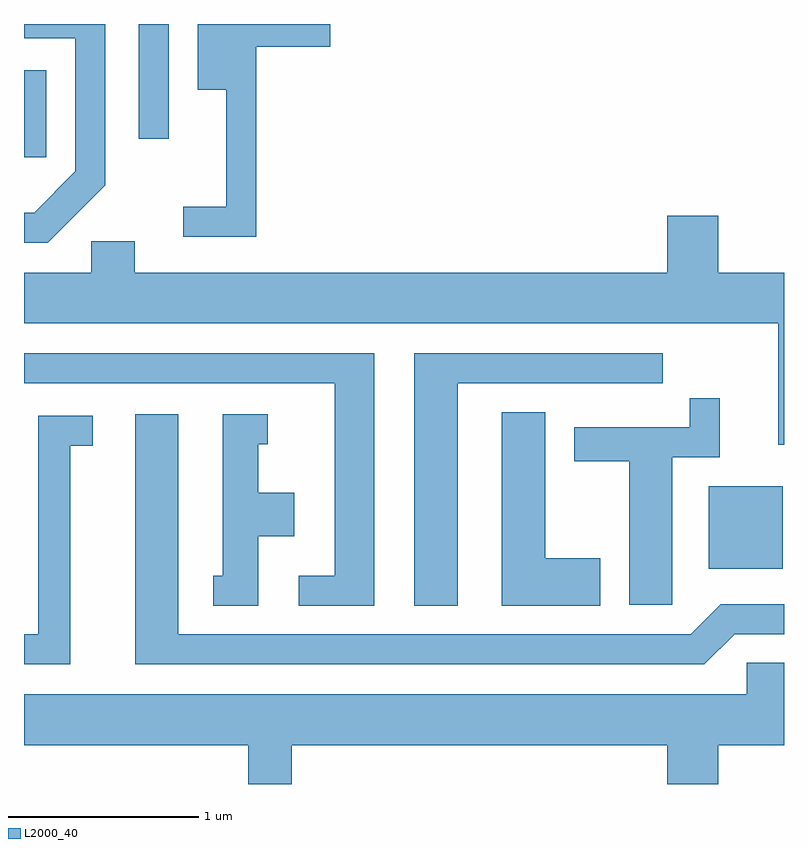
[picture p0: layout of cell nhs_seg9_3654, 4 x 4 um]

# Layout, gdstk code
import gdstk
lib = gdstk.Library(unit=1e-6, precision=1e-09)
def R(c, l, rs):  # rectangles x0, y0, x1, y1
    for r in rs: c.add(gdstk.rectangle(r[:2], r[2:], *l))
def P(c, l, *ps):  # polygons
    for p in ps: c.add(gdstk.Polygon(p, *l))
L2000_40 = (2000, 40)

nhs_seg9_3654 = lib.new_cell('nhs_seg9_3654')
R(nhs_seg9_3654, L2000_40, [(295.216,2061.566,295.604,2061.999), (291.611,2063.731,291.729,2064.189), (292.216,2063.827,292.374,2064.432)])
P(nhs_seg9_3654, L2000_40, [(292.039,2063.584),(292.039,2064.432),(291.611,2064.432),(291.611,2064.356),(291.881,2064.356),(291.881,2063.657),(291.664,2063.439),(291.611,2063.439),(291.611,2063.281),(291.737,2063.281)],
  [(292.834,2064.311),(293.224,2064.311),(293.224,2064.432),(292.526,2064.432),(292.526,2064.086),(292.676,2064.086),(292.676,2063.469),(292.448,2063.469),(292.448,2063.311),(292.834,2063.311)],
  [(295.611,2063.124),(295.264,2063.124),(295.264,2063.424),(294.996,2063.424),(294.996,2063.124),(292.194,2063.124),(292.194,2063.289),(291.966,2063.289),(291.966,2063.124),(291.611,2063.124),(291.611,2062.856),(295.581,2062.856),(295.581,2062.218),(295.611,2062.218)],
  [(293.894,2062.541),(294.973,2062.541),(294.973,2062.699),(293.666,2062.699),(293.666,2061.371),(293.894,2061.371)],
  [(293.454,2062.699),(291.611,2062.699),(291.611,2062.541),(293.246,2062.541),(293.246,2061.529),(293.058,2061.529),(293.058,2061.371),(293.454,2061.371)],
  [(295.024,2062.151),(295.274,2062.151),(295.274,2062.463),(295.116,2062.463),(295.116,2062.309),(294.506,2062.309),(294.506,2062.131),(294.796,2062.131),(294.796,2061.376),(295.024,2061.376)],
  [(294.644,2061.619),(294.354,2061.619),(294.354,2062.389),(294.126,2062.389),(294.126,2061.371),(294.644,2061.371)],
  [(295.352,2061.221),(295.611,2061.221),(295.611,2061.379),(295.279,2061.379),(295.119,2061.219),(292.424,2061.219),(292.424,2062.379),(292.196,2062.379),(292.196,2061.061),(295.192,2061.061)],
  [(292.844,2061.736),(293.034,2061.736),(293.034,2061.964),(292.844,2061.964),(292.844,2062.221),(292.893,2062.221),(292.893,2062.379),(292.656,2062.379),(292.656,2061.529),(292.608,2061.529),(292.608,2061.371),(292.844,2061.371)],
  [(291.854,2062.211),(291.973,2062.211),(291.973,2062.369),(291.686,2062.369),(291.686,2061.219),(291.611,2061.219),(291.611,2061.061),(291.854,2061.061)],
  [(293.019,2060.636),(294.996,2060.636),(294.996,2060.432),(295.264,2060.432),(295.264,2060.636),(295.611,2060.636),(295.611,2061.069),(295.416,2061.069),(295.416,2060.904),(291.611,2060.904),(291.611,2060.636),(292.791,2060.636),(292.791,2060.432),(293.019,2060.432)])

lib.write_gds('nhs_seg9_3654.gds')
